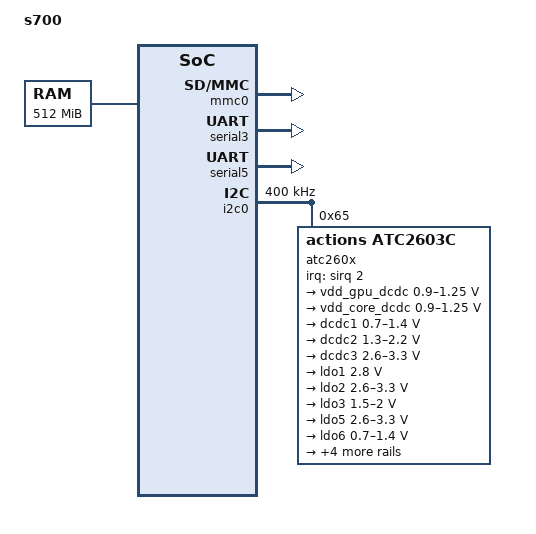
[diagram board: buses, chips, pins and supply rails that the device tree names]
/*
 * Copyright (C) 2014 Actions Semi. Inc
 *
 * This program is free software; you can redistribute it and/or
 * modify it under the terms of the GNU General Public License as
 * published by the Free Software Foundation version 2.
 *
 * This program is distributed "as is" WITHOUT ANY WARRANTY of any
 * kind, whether express or implied; without even the implied warranty
 * of MERCHANTABILITY or FITNESS FOR A PARTICULAR PURPOSE.  See the
 * GNU General Public License for more details.
 */

/dts-v1/;

/* reserve 48MB for logo(fb) */
///memreserve/ 0x19000000 0x03000000;

/* reserve 48MB for ion0(fb) */
/memreserve/ 0x1C000000 0x01000000;

/* reserve 32MB for ion1(pmem) */
/memreserve/ 0x20000000 0x01000000;

/* reserve 4k for afinfo */
/memreserve/ 0x18FFF000 0x1000;

#include "s700.dtsi"

/ {
	model = "s700";
	compatible = "actions,s700";

	chosen {
		bootargs="console=ttyS5,115200 earlyprintk=serial-owl,0xe012a000 no_console_suspend";
	};

	memory@00000000 {
		device_type = "memory";
		reg = <0 0x00000000 0 0x20000000>;
	};

	ion_config {
		compatible = "actions,s900-ion";
		actions,ion_heap_fb_base = <0x1c000000>;
		actions,ion_heap_fb_size = <0x01000000>;
		actions,ion_heap_pmem_base = <0x20000000>;
		actions,ion_heap_pmem_size = <0x01000000>;
	};

	mmc0: mmc@e0218000 {
		card-type = "emmc";
		status = "okay";
	};

	owl_aotg_config {
                compatible = "actions,owl-aotg-config";
                usb_cam_shield1 = "e01d0000";
                usb_cam_shield2 = "e01d8000";
        };

	serial3: uart@e0126000 {
		status = "okay";
	};
	serial5: uart@e012a000 {
		status = "okay";
		pinctrl-names = "default";
		pinctrl-0 = <&serial5_state_default>;
	};
		i2c0: i2c@e0170000 {
		i2c_num = <0>;
		clock-frequency = <400000>;
		status = "okay";
		/* atc2603c (5307) */
		atc260x: atc2603c@65 {
			compatible = "actions,atc2603c";
			reg = <0x65>;
			interrupt-parent = <&sirq>;
			interrupts =< 2 0x4 >;
			interrupt-controller;
			#interrupt-cells = <1>;

			losc_32k_output_enable = <1>;    /* enable/disable output 32.768K clock via I2S_MCLK1 pin */
			losc_32k_output_voltage = <18>;  /* select voltage scale of the 32.768K clock output, 18:1.8v, 31:3.1v */

			pm {
				compatible = "actions,atc2603c-pm";
			};

			onoff {
				compatible = "actions,atc2603c-onoff";
			};

			rtc{
				compatible = "actions,atc2603c-rtc";
			};

			atc260x_gpio: atc260x_gpio {
				compatible = "actions,atc2603c-gpio";
				gpio-controller;
				#gpio-cells = <2>;
			};

			atc260x_sgpio: atc260x_sgpio {
				compatible = "actions,atc2603c-sgpio";
				gpio-controller;
				#gpio-cells = <2>;
				interrupt-controller;
				#interrupt-cells = <2>;
			};

			atc260x-adckeypad{
#define KEY_HOME				172
#define KEY_MENU				139
#define KEY_BACK				158
#define KEY_VOLUMEDOWN				114
#define KEY_VOLUMEUP				115
				keymapsize = <5>;                   /* number of ADC key */
				filter_dep = <3>;                   /* depth of the moving average filter (length of filter queue) */
				variance = <10>;                    /* filter will not output until the difference between every two ADC samples in the filter queue goes below this value */
				poll_interval =  <10>;              /* sample period, in ms */
				left_adc_val =  <0 90 175 270 400>;     /* for key code translator, each value defines a lower bound of ADC value of a key */
				right_adc_val = <30 120 220 320 450>;   /* for key code translator, each value defines a upper bound of ADC value of a key */
				key_val = <KEY_HOME KEY_MENU KEY_VOLUMEUP KEY_VOLUMEDOWN KEY_BACK>; /* for key code translator, each value defines the key_code of a key */
				adc_channel_name = "AUX0";          /* the ADC channel used for sampling, valid names are REMCON AUX0 AUX1 AUX2 (AUX3) */
				compatible = "actions,atc2603c-adckeypad";
				status = "okay";                /* enable/disable ADC key function (okay or disabled) */
			};
			atc260x-irkeypad{
				size = <28>;
				user_code = <16448>;
				protocol = <1>;
				wk_code= <77>;
				period = <140>;
				ir_code = <77 67 21 28 11 14 16 17 13 26 69 66 12 1 2 3 4 5 6 7 8 9 0 68 83 18 30 31>;
				key_code = <116 113 115 114 103 108 105 106 353 172 139 158 14 2 3 4 5 6 7 8 9 10 11 175 139 52 165 163>;
				compatible = "actions,atc2603c-irkeypad";
			};

			/*the cfg params must be read	in the first installed ko,
			 now snd-soc-atv5302.ko is first installed.
			 1, earphone_detect_level use the third value of earphone_gpios
			 2, commonly, we shouldn't change the value of speaker_gain and earphone_gain*/
			atc260x-hwmon{
				compatible = "actions,atc2603c-hwmon";
			};


			vdd_gpu_dcdc: vdd-gpu-dcdc {
				compatible = "actions,atc2603c-ext-pwm-dcdc1","actions,atc2603c-ext-pwm-dcdc";
				regulator-name = "vdd-gpu-dcdc";
				regulator-min-microvolt  = <900000>;
				regulator-max-microvolt = <1250000>;
				regulator-always-on;
				pwms = <&pwm 1 2666 0>;	// 1-pwm1   2666-1/(24M/64)*1000000-1   0 -active high
				table_len = < 15 >;			//length of vdd_cpu_table & pwm_config_table
				vdd_cpu_table = <900000 925000 950000 975000 1000000 1025000 1050000 1075000 1100000 1125000 1150000 1175000 1200000 1225000 1250000>;	//uV
				pwm_config_table = <19 18 17 16 15 14 13 12 11 10 9 8 7 6 5>;	//the pwm period of 1.1v 1.2v 1.3v
			};

			vdd_core_dcdc: vdd-core-dcdc {
				compatible = "actions,atc2603c-ext-pwm-dcdc2","actions,atc2603c-ext-pwm-dcdc";
				regulator-name = "vdd-core-dcdc";
				regulator-min-microvolt  = <900000>;
				regulator-max-microvolt = <1250000>;
				regulator-always-on;
				pwms = <&pwm 2 2666 0>;	// 1-pwm1   2666-1/(24M/64)*1000000-1   0 -active high
				table_len = < 15 >;			//length of vdd_cpu_table & pwm_config_table
				vdd_cpu_table = <900000 925000 950000 975000 1000000 1025000 1050000 1075000 1100000 1125000 1150000 1175000 1200000 1225000 1250001>;	//uV
				pwm_config_table = <19 18 17 16 15 14 13 12 11 10 9 8 7 6 5>;	//the pwm period of 1.1v 1.2v 1.3v
			};

			dcdc1: dcdc1 {
				compatible = "actions,atc2603c-dcdc1","actions,atc2603c-dcdc";
				regulator-name = "dcdc1";
				regulator-min-microvolt = <700000>;
				regulator-max-microvolt = <1400000>;
				regulator-always-on;
			};

			dcdc2: dcdc2 {
				compatible = "actions,atc2603c-dcdc2","actions,atc2603c-dcdc";
				regulator-name = "dcdc2";
				regulator-min-microvolt = <1300000>;
				regulator-max-microvolt = <2200000>;
				regulator-always-on;
			};

			dcdc3: dcdc3 {
				compatible = "actions,atc2603c-dcdc3","actions,atc2603c-dcdc";
				regulator-name = "dcdc3";
				regulator-min-microvolt = <2600000>;
				regulator-max-microvolt = <3300000>;
				regulator-always-on;
			};

			dcdc4: dcdc4 {
				status = "disabled";
			};

			dcdc5: dcdc5 {
				status = "disabled";
			};

			ldo1: ldo1{
				compatible = "actions,atc2603c-ldo1","actions,atc2603c-ldo";
				regulator-name = "ldo1";
				regulator-min-microvolt  = <2800000>;
				regulator-max-microvolt = <2800000>;
				regulator-always-on;
			};

			ldo2: ldo2{
				compatible = "actions,atc2603c-ldo2","actions,atc2603c-ldo";
				regulator-name = "ldo2";
				regulator-min-microvolt  = <2600000>;
				regulator-max-microvolt = <3300000>;
				regulator-always-on;
			};

			ldo3: ldo3{
				compatible = "actions,atc2603c-ldo3","actions,atc2603c-ldo";
				regulator-name = "ldo3";
				regulator-min-microvolt  = <1500000>;
				regulator-max-microvolt = <2000000>;
				regulator-always-on;
			};

			ldo4: ldo4{
				status = "disabled";
			};

			ldo5: ldo5{
				compatible = "actions,atc2603c-ldo5","actions,atc2603c-ldo";
				regulator-name = "ldo5";
				regulator-min-microvolt  = <2600000>;
				regulator-max-microvolt = <3300000>;
			};

			ldo6: ldo6{
				compatible = "actions,atc2603c-ldo6","actions,atc2603c-ldo";
				regulator-name = "ldo6";
				regulator-min-microvolt  = <700000>;
				regulator-max-microvolt = <1400000>;
				regulator-always-on;
			};

			ldo7: ldo7{
				compatible = "actions,atc2603c-ldo7","actions,atc2603c-ldo";
				regulator-name = "ldo7";
				regulator-min-microvolt  = <1800000>;
				regulator-max-microvolt = <1800000>;
				regulator-always-on;
				regulator-suspend-off;
			};

			ldo8: ldo8{
				compatible = "actions,atc2603c-ldo8","actions,atc2603c-ldo";
				regulator-name = "ldo8";
				regulator-min-microvolt  = <2300000>;
				regulator-max-microvolt = <3300000>;
			};

			ldo9: ldo9{
				status = "disabled";
			};

			ldo10: ldo10{
				status = "disabled";
			};

			ldo11: ldo11{
				compatible = "actions,atc2603c-ldo11","actions,atc2603c-ldo";
				regulator-name = "ldo11";
				regulator-min-microvolt  = <2600000>;
				regulator-max-microvolt = <3300000>;
				regulator-always-on;
			};

			switch1:switch1{
				compatible = "actions,atc2603c-switch1","actions,atc2603c-switch";
				regulator-name = "switch1";
				regulator-min-microvolt  = <3000000>;
				regulator-max-microvolt = <3300000>;
				regulator-always-on;
			};

			switch2:switch2{
				status = "disabled";
			};
		};
	};
};
